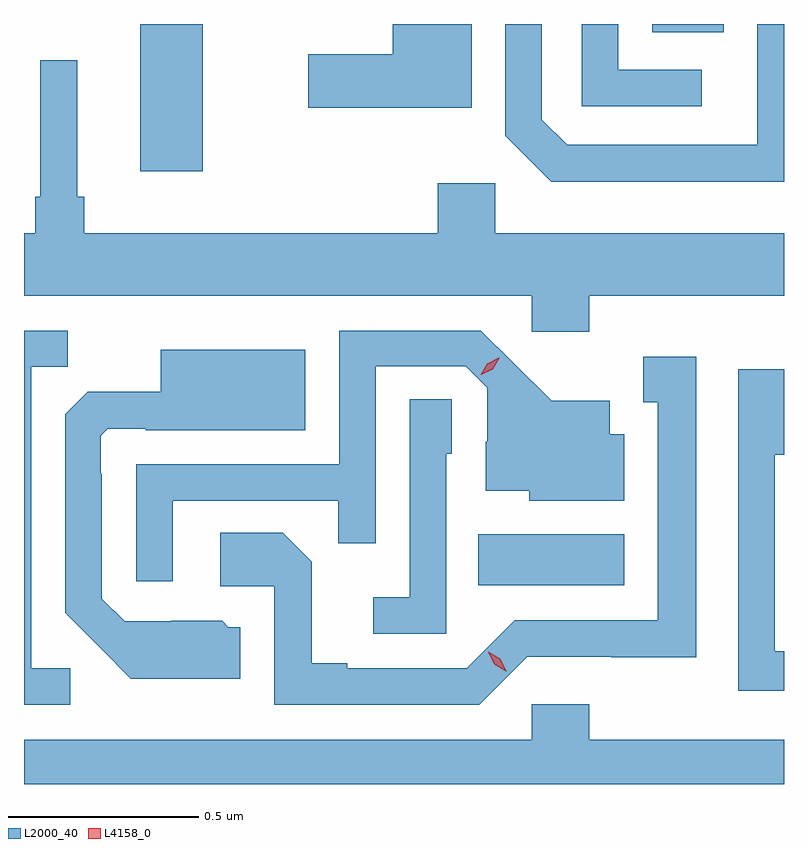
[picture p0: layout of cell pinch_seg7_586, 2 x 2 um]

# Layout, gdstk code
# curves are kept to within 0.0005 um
import gdstk
lib = gdstk.Library(unit=1e-6, precision=1e-09)
def R(c, l, rs):  # rectangles x0, y0, x1, y1
    for r in rs: c.add(gdstk.rectangle(r[:2], r[2:], *l))
def P(c, l, *ps):  # polygons
    for p in ps: c.add(gdstk.Polygon(p, *l))
L2000_40 = (2000, 40)
L4158_0 = (4158, 0)

pinch_seg7_586 = lib.new_cell('pinch_seg7_586')
R(pinch_seg7_586, L2000_40, [(161.344,1057.13,161.728,1057.264), (160.454,1058.22,160.618,1058.607), (161.801,1058.585,161.989,1058.607)])
P(pinch_seg7_586, L2000_40, [(162.148,1058.607),(162.078,1058.607),(162.078,1058.489),(162.077,1058.489),(162.077,1058.289),(161.577,1058.289),(161.511,1058.355),(161.511,1058.607),(161.415,1058.607),(161.415,1058.313),(161.536,1058.192),(162.148,1058.192)],
  [(161.932,1058.487),(161.712,1058.487),(161.712,1058.607),(161.616,1058.607),(161.616,1058.391),(161.932,1058.391)],
  [(161.326,1058.607),(161.119,1058.607),(161.119,1058.528),(160.896,1058.528),(160.896,1058.386),(161.326,1058.386)],
  [(161.636,1057.892),(162.148,1057.892),(162.148,1058.056),(161.388,1058.056),(161.388,1058.188),(161.237,1058.188),(161.237,1058.056),(160.307,1058.056),(160.307,1058.152),(160.288,1058.152),(160.288,1058.512),(160.191,1058.512),(160.191,1058.152),(160.178,1058.152),(160.178,1058.056),(160.148,1058.056),(160.148,1057.892),(161.484,1057.892),(161.484,1057.797),(161.636,1057.797)],
  [(160.27,1056.912),(160.167,1056.912),(160.167,1057.705),(160.263,1057.705),(160.263,1057.8),(160.148,1057.8),(160.148,1056.816),(160.27,1056.816)],
  [(160.539,1057.353),(160.975,1057.353),(160.975,1057.24),(161.073,1057.24),(161.073,1057.707),(161.31,1057.707),(161.367,1057.65),(161.367,1057.508),(161.363,1057.508),(161.363,1057.379),(161.478,1057.379),(161.478,1057.352),(161.728,1057.352),(161.728,1057.528),(161.689,1057.528),(161.689,1057.615),(161.537,1057.615),(161.35,1057.8),(160.977,1057.8),(160.977,1057.449),(160.443,1057.449),(160.443,1057.14),(160.539,1057.14)],
  [(160.717,1057.02),(160.686,1057.02),(160.67,1057.036),(160.536,1057.036),(160.536,1057.035),(160.413,1057.035),(160.353,1057.095),(160.353,1057.424),(160.35,1057.424),(160.35,1057.524),(160.368,1057.542),(160.468,1057.542),(160.468,1057.538),(160.888,1057.538),(160.888,1057.75),(160.508,1057.75),(160.508,1057.639),(160.316,1057.639),(160.257,1057.58),(160.257,1057.058),(160.429,1056.884),(160.717,1056.884)],
  [(161.472,1056.942),(161.694,1056.942),(161.694,1056.941),(161.917,1056.941),(161.917,1057.732),(161.777,1057.732),(161.777,1057.611),(161.816,1057.611),(161.816,1057.038),(161.439,1057.038),(161.313,1056.912),(160.999,1056.912),(160.999,1056.925),(160.905,1056.925),(160.905,1057.192),(160.829,1057.268),(160.665,1057.268),(160.665,1057.128),(160.806,1057.128),(160.806,1056.816),(161.346,1056.816)],
  [(162.148,1056.957),(162.123,1056.957),(162.123,1057.473),(162.148,1057.473),(162.148,1057.699),(162.027,1057.699),(162.027,1056.852),(162.148,1056.852)],
  [(161.259,1057.476),(161.274,1057.476),(161.274,1057.619),(161.163,1057.619),(161.163,1057.099),(161.067,1057.099),(161.067,1057.002),(161.259,1057.002)],
  [(162.148,1056.724),(161.636,1056.724),(161.636,1056.817),(161.484,1056.817),(161.484,1056.724),(160.148,1056.724),(160.148,1056.607),(162.148,1056.607)])
P(pinch_seg7_586, L4158_0, [(161.418,1056.903),(161.386,1056.922),(161.37,1056.955),(161.37,1056.955),(161.37,1056.955),(161.401,1056.936),(161.418,1056.903),(161.418,1056.903)],
  [(161.35,1057.684),(161.35,1057.684),(161.367,1057.713),(161.397,1057.729),(161.398,1057.729),(161.398,1057.728),(161.381,1057.699),(161.351,1057.684)])

lib.write_gds('pinch_seg7_586.gds')
